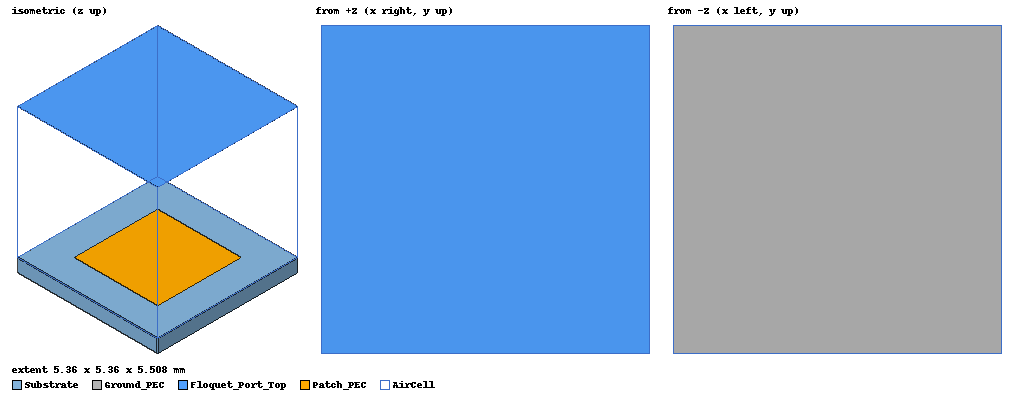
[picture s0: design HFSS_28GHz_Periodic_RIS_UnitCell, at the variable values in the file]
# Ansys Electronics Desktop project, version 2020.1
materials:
  vacuum: permittivity=1
  air: permittivity=1.0006 permeability=1.0000004
  Rogers RT/duroid 5880 (tm): permittivity=2.2 dielectric_loss_tangent=0.0009
  copper: permeability=0.999991 conductivity=58000000

design HFSS_28GHz_Periodic_RIS_UnitCell (HFSS, DrivenModal, model units mm)
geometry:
  AirCell [air] = box(corner=(-2.68mm, -2.68mm, 0mm), size=(5.36mm, 5.36mm, 5mm))
  Substrate [Rogers RT/duroid 5880 (tm)] = box(corner=(-2.68mm, -2.68mm, -0.508mm), size=(5.36mm, 5.36mm, 0.508mm))
  Ground_PEC [copper] = rectangle(corner=(-2.68mm, -2.68mm, -0.508mm), x_size=5.36mm, y_size=5.36mm)
  Patch_PEC [copper] = rectangle(corner=(-1.6mm, -1.6mm, 0mm), x_size=3.2mm, y_size=3.2mm)
  Floquet_Port_Top = rectangle(corner=(-2.68mm, -2.68mm, 5mm), x_size=5.36mm, y_size=5.36mm)
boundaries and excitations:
  PEC_Metals: Perfect E Objects=[Ground_PEC, Patch_PEC]
  1: Lattice Pair Faces=AirCell.face(-y, +y) CoordSysVector{AirCell.vertex(4 of 8) -> AirCell.vertex(7 of 8)} ReverseV UseScanAngles Phi=0deg Theta=0deg
  2: Lattice Pair Faces=AirCell.face(-x, +x) CoordSysVector{AirCell.vertex(3 of 8) -> AirCell.vertex(8 of 8)} ReverseV UseScanAngles Phi=0deg Theta=0deg
  FloquetPort1: Floquet Port Objects=Floquet_Port_Top NumModes=2 Modes{Mode1{CharImp=Zpi} Mode2{CharImp=Zpi}} UseScanAngles Phi=0deg Theta=0deg LatticeAVector{Floquet_Port_Top.vertex(1 of 4) -> Floquet_Port_Top.vertex(2 of 4)} LatticeBVector{Floquet_Port_Top.vertex(1 of 4) -> Floquet_Port_Top.vertex(4 of 4)} ModesCalculator{Frequency=1GHz PhiStart=0deg PhiStop=0deg PhiStep=0deg ThetaStart=0deg ThetaStop=0deg ThetaStep=0deg} ModesList{Mode{ModeNumber=1 IndexM=0 IndexN=0 KC2=0 PropagationState=Undefined Attenuation=0 PolarizationState=TE AffectsRefinement} Mode{ModeNumber=2 IndexM=0 IndexN=0 KC2=0 PropagationState=Undefined Attenuation=0 PolarizationState=TM AffectsRefinement}}
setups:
  Setup1: HfssDriven Frequency=28GHz MaxDeltaS=0.04 MaximumPasses=5 MinimumPasses=1 MinimumConvergedPasses=1 PercentRefinement=25 BasisOrder=1 PortAccuracy=2
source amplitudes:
  FloquetPort1:1: 1W 0deg
  FloquetPort1:2: 0W 0deg
